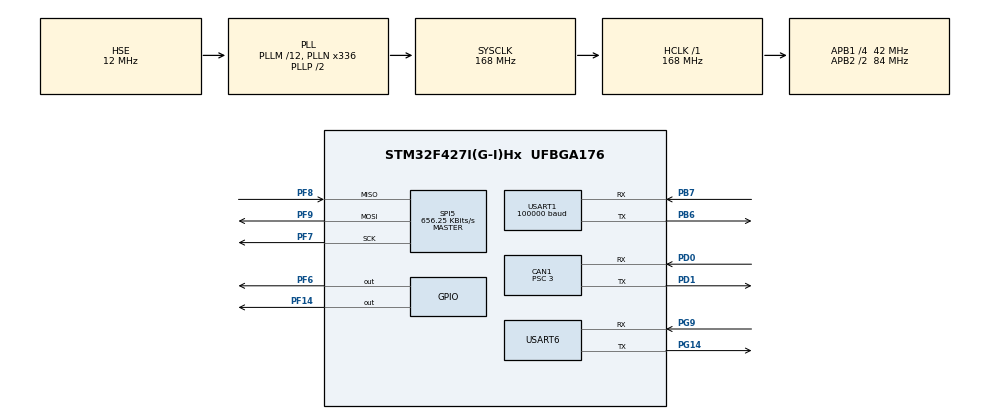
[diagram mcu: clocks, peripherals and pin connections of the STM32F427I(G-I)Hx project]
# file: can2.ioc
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CAN1.BS1=CAN_BS1_6TQ
CAN1.BS2=CAN_BS2_7TQ
CAN1.CalculateTimeQuantum=71.42857142857143
CAN1.NART=ENABLE
CAN1.Prescaler=3
Dma.Request0=USART1_RX
Dma.Request1=USART6_RX
Dma.USART1_RX.0.Direction=DMA_PERIPH_TO_MEMORY
Dma.USART1_RX.0.FIFOMode=DMA_FIFOMODE_DISABLE
Dma.USART1_RX.0.Instance=DMA2_Stream2
Dma.USART1_RX.0.MemDataAlignment=DMA_MDATAALIGN_BYTE
Dma.USART1_RX.0.MemInc=DMA_MINC_ENABLE
Dma.USART1_RX.0.Mode=DMA_CIRCULAR
Dma.USART1_RX.0.PeriphDataAlignment=DMA_PDATAALIGN_BYTE
Dma.USART1_RX.0.PeriphInc=DMA_PINC_DISABLE
Dma.USART1_RX.0.Priority=DMA_PRIORITY_LOW
Dma.USART6_RX.1.Direction=DMA_PERIPH_TO_MEMORY
Dma.USART6_RX.1.FIFOMode=DMA_FIFOMODE_DISABLE
Dma.USART6_RX.1.Instance=DMA2_Stream1
Dma.USART6_RX.1.MemDataAlignment=DMA_MDATAALIGN_BYTE
Dma.USART6_RX.1.MemInc=DMA_MINC_ENABLE
Dma.USART6_RX.1.Mode=DMA_CIRCULAR
Dma.USART6_RX.1.PeriphDataAlignment=DMA_PDATAALIGN_BYTE
Dma.USART6_RX.1.PeriphInc=DMA_PINC_DISABLE
Dma.USART6_RX.1.Priority=DMA_PRIORITY_LOW
Mcu.Family=STM32F4
Mcu.Name=STM32F427I(G-I)Hx
Mcu.Package=UFBGA176
NVIC.CAN1_RX0_IRQn=true\:0\:0\:false\:true\:true\:1\:true
NVIC.CAN1_TX_IRQn=true\:0\:0\:false\:true\:true\:3\:true
NVIC.DMA2_Stream1_IRQn=true\:0\:0\:false\:false\:true\:false
NVIC.DMA2_Stream2_IRQn=true\:0\:0\:false\:false\:true\:false
NVIC.PriorityGroup=NVIC_PRIORITYGROUP_4
NVIC.TIM6_DAC_IRQn=true\:0\:0\:false\:true\:true\:4\:true
NVIC.USART1_IRQn=true\:0\:0\:false\:true\:true\:2\:true
NVIC.USART6_IRQn=true\:0\:0\:false\:false\:true\:true
PA13.Mode=JTAG_5_pins
PA13.Signal=SYS_JTMS-SWDIO
PA14.Mode=JTAG_5_pins
PA14.Signal=SYS_JTCK-SWCLK
PA15.Mode=JTAG_5_pins
PA15.Signal=SYS_JTDI
PB3.Mode=JTAG_5_pins
PB3.Signal=SYS_JTDO-SWO
PB4.Mode=JTAG_5_pins
PB4.Signal=SYS_JTRST
PB6.Mode=Asynchronous
PB6.Signal=USART1_TX
PB7.Mode=Asynchronous
PB7.Signal=USART1_RX
PD0.GPIO_PuPd=GPIO_PULLUP
PD0.Mode=Master
PD0.Signal=CAN1_RX
PD1.GPIO_PuPd=GPIO_PULLUP
PD1.Mode=Master
PD1.Signal=CAN1_TX
PF14.Signal=GPIO_Output
PF6.Signal=GPIO_Output
PF7.Mode=Full_Duplex_Master
PF7.Signal=SPI5_SCK
PF8.Mode=Full_Duplex_Master
PF8.Signal=SPI5_MISO
PF9.Mode=Full_Duplex_Master
PF9.Signal=SPI5_MOSI
PG14.Mode=Asynchronous
PG14.Signal=USART6_TX
PG9.Mode=Asynchronous
PG9.Signal=USART6_RX
PH0/OSC_IN.Mode=HSE-External-Oscillator
PH0/OSC_IN.Signal=RCC_OSC_IN
PH1/OSC_OUT.Mode=HSE-External-Oscillator
PH1/OSC_OUT.Signal=RCC_OSC_OUT
ProjectManager.HeapSize=0x200
ProjectManager.StackSize=0x400
ProjectManager.TargetToolchain=MDK-ARM V5
RCC.48MHZClocksFreq_Value=84000000
RCC.AHBFreq_Value=168000000
RCC.APB1CLKDivider=RCC_HCLK_DIV4
RCC.APB1Freq_Value=42000000
RCC.APB1TimFreq_Value=84000000
RCC.APB2CLKDivider=RCC_HCLK_DIV2
RCC.APB2Freq_Value=84000000
RCC.APB2TimFreq_Value=168000000
RCC.CortexFreq_Value=168000000
RCC.HCLKFreq_Value=168000000
RCC.HSE_VALUE=12000000
RCC.HSI_VALUE=16000000
RCC.LSE_VALUE=32768
RCC.PLLM=12
RCC.PLLN=336
RCC.PLLSourceVirtual=RCC_PLLSOURCE_HSE
RCC.SYSCLKFreq_VALUE=168000000
RCC.SYSCLKSource=RCC_SYSCLKSOURCE_PLLCLK
RCC.VCOOutputFreq_Value=336000000
SPI5.BaudRatePrescaler=SPI_BAUDRATEPRESCALER_128
SPI5.CalculateBaudRate=656.25 KBits/s
SPI5.Direction=SPI_DIRECTION_2LINES
SPI5.Mode=SPI_MODE_MASTER
SPI5.VirtualType=VM_MASTER
TIM2.Period=0xffffffff
TIM2.Prescaler=83
TIM6.Period=999
TIM6.Prescaler=83
USART1.BaudRate=100000
USART1.Parity=PARITY_EVEN
USART1.VirtualMode=VM_ASYNC
USART6.VirtualMode=VM_ASYNC
VP_TIM2_VS_ClockSourceINT.Mode=Internal
VP_TIM6_VS_ClockSourceINT.Mode=Enable_Timer
board=custom

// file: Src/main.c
/**
  ******************************************************************************
  * @file           : main.c
  * @brief          : Main program body
  ******************************************************************************
  ** This notice applies to any and all portions of this file
  * that are not between comment pairs USER CODE BEGIN and
  * USER CODE END. Other portions of this file, whether
  * inserted by the user or by software development tools
  * are owned by their respective copyright owners.
  *
  * COPYRIGHT(c) 2018 STMicroelectronics
  *
  * Redistribution and use in source and binary forms, with or without modification,
  * are permitted provided that the following conditions are met:
  *   1. Redistributions of source code must retain the above copyright notice,
  *      this list of conditions and the following disclaimer.
  *   2. Redistributions in binary form must reproduce the above copyright notice,
  *      this list of conditions and the following disclaimer in the documentation
  *      and/or other materials provided with the distribution.
  *   3. Neither the name of STMicroelectronics nor the names of its contributors
  *      may be used to endorse or promote products derived from this software
  *      without specific prior written permission.
  *
  * THIS SOFTWARE IS PROVIDED BY THE COPYRIGHT HOLDERS AND CONTRIBUTORS "AS IS"
  * AND ANY EXPRESS OR IMPLIED WARRANTIES, INCLUDING, BUT NOT LIMITED TO, THE
  * IMPLIED WARRANTIES OF MERCHANTABILITY AND FITNESS FOR A PARTICULAR PURPOSE ARE
  * DISCLAIMED. IN NO EVENT SHALL THE COPYRIGHT HOLDER OR CONTRIBUTORS BE LIABLE
  * FOR ANY DIRECT, INDIRECT, INCIDENTAL, SPECIAL, EXEMPLARY, OR CONSEQUENTIAL
  * DAMAGES (INCLUDING, BUT NOT LIMITED TO, PROCUREMENT OF SUBSTITUTE GOODS OR
  * SERVICES; LOSS OF USE, DATA, OR PROFITS; OR BUSINESS INTERRUPTION) HOWEVER
  * CAUSED AND ON ANY THEORY OF LIABILITY, WHETHER IN CONTRACT, STRICT LIABILITY,
  * OR TORT (INCLUDING NEGLIGENCE OR OTHERWISE) ARISING IN ANY WAY OUT OF THE USE
  * OF THIS SOFTWARE, EVEN IF ADVISED OF THE POSSIBILITY OF SUCH DAMAGE.
  *
  ******************************************************************************
  */
#include "main.h"
#include "stm32f4xx_hal.h"

/* USER CODE BEGIN Includes */
#include "q6623.h"
#include "can.h"
#include "stdio.h"
#include "bsp_uart.h"
#include "imu.h"
#include "gimbal.h"
#include "gimbal_task.h"
#include "minipc.h"
/* USER CODE END Includes */

CAN_HandleTypeDef hcan1;

SPI_HandleTypeDef hspi5;

TIM_HandleTypeDef htim2;
TIM_HandleTypeDef htim6;

UART_HandleTypeDef huart1;
UART_HandleTypeDef huart6;
DMA_HandleTypeDef hdma_usart1_rx;
DMA_HandleTypeDef hdma_usart6_rx;

/* USER CODE BEGIN PV */
/* Private variables ---------------------------------------------------------*/

/* USER CODE END PV */

void SystemClock_Config(void);
static void MX_GPIO_Init(void);
static void MX_DMA_Init(void);
static void MX_CAN1_Init(void);
static void MX_USART1_UART_Init(void);
static void MX_SPI5_Init(void);
static void MX_USART6_UART_Init(void);
static void MX_TIM2_Init(void);
static void MX_TIM6_Init(void);
static void MX_NVIC_Init(void);

/* USER CODE BEGIN PFP */
/* Private function prototypes -----------------------------------------------*/

/* USER CODE END PFP */

/* USER CODE BEGIN 0 */
uint8_t FilerConf(void);
extern uint16_t gimbal_time;
extern uint16_t minipc_time;
 extern CAN_TxHeaderTypeDef   TxMsg;
 HAL_StatusTypeDef A;
 extern imu_t imu;
 unsigned char got_pitchyaw[8];
 extern Gimbal_Ref_t GimbalRef;
/* USER CODE END 0 */

int main(void)
{
  /* USER CODE BEGIN 1 */
//   uint8_t data[8]={0};
//   uint32_t k;
  GimbalRef.Pitch=0;
	GimbalRef.Yaw=0;
  /* USER CODE END 1 */

  /* MCU Configuration----------------------------------------------------------*/

  /* Reset of all peripherals, Initializes the Flash interface and the Systick. */
  HAL_Init();

  /* Configure the system clock */
  SystemClock_Config();

  /* Initialize all configured peripherals */
  MX_GPIO_Init();
  MX_DMA_Init();
  MX_CAN1_Init();
  MX_USART1_UART_Init();
  MX_SPI5_Init();
  MX_USART6_UART_Init();
  MX_TIM2_Init();
  MX_TIM6_Init();

  /* Initialize interrupts */
  MX_NVIC_Init();
  /* USER CODE BEGIN 2 */
	 dbus_uart_init();
	HAL_TIM_Base_Start_IT(&htim6);
	HAL_CAN_Start(&hcan1 );
	__HAL_UART_ENABLE(&huart6);
	//__HAL_SPI_ENABLE(&hspi5 );
	mpu_device_init();
	init_quaternion();
  __HAL_CAN_ENABLE_IT(&hcan1,((uint32_t) CAN_IER_FMPIE0));
	//HAL_CAN_ActivateNotification(&hcan1,CAN_IT_RX_FIFO0_FULL);
	//HAL_CAN_ActivateNotification(&hcan1 ,CAN_IT_RX_FIFO0_MSG_PENDING);
	//HAL_CAN_ActivateNotification(&hcan1 ,CAN_IT_TX_MAILBOX_EMPTY);
	//__HAL_CAN_ENABLE_IT(&hcan1,CAN_IT_FMP0,);
	HAL_GPIO_WritePin(GPIOF,GPIO_PIN_14,0);
  HAL_Delay(100);
	Motor_Init();
   // __HAL_UART_ENABLE(&huart1);

	// HAL_Delay(1000);

  /* USER CODE END 2 */

  /* Infinite loop */
  while (1)
  {

  /* USER CODE BEGIN 3 */
		 if(gimbal_time==1)
		 {
		 imu_run();
		get_pitchyaw();
		Ref_UpdataFromRCStick();
			 gimbal_time=0;
		 }
		  if(minipc_time )
				Send_MiniPC();
  }
  /* USER CODE END 3 */

}

void SystemClock_Config(void)
{

  RCC_OscInitTypeDef RCC_OscInitStruct;
  RCC_ClkInitTypeDef RCC_ClkInitStruct;

    /**Configure the main internal regulator output voltage
    */
  __HAL_RCC_PWR_CLK_ENABLE();

  __HAL_PWR_VOLTAGESCALING_CONFIG(PWR_REGULATOR_VOLTAGE_SCALE1);

    /**Initializes the CPU, AHB and APB busses clocks
    */
  RCC_OscInitStruct.OscillatorType = RCC_OSCILLATORTYPE_HSE;
  RCC_OscInitStruct.HSEState = RCC_HSE_ON;
  RCC_OscInitStruct.PLL.PLLState = RCC_PLL_ON;
  RCC_OscInitStruct.PLL.PLLSource = RCC_PLLSOURCE_HSE;
  RCC_OscInitStruct.PLL.PLLM = 12;
  RCC_OscInitStruct.PLL.PLLN = 336;
  RCC_OscInitStruct.PLL.PLLP = RCC_PLLP_DIV2;
  RCC_OscInitStruct.PLL.PLLQ = 4;
  if (HAL_RCC_OscConfig(&RCC_OscInitStruct) != HAL_OK)
  {
    _Error_Handler(__FILE__, __LINE__);
  }

    /**Initializes the CPU, AHB and APB busses clocks
    */
  RCC_ClkInitStruct.ClockType = RCC_CLOCKTYPE_HCLK|RCC_CLOCKTYPE_SYSCLK
                              |RCC_CLOCKTYPE_PCLK1|RCC_CLOCKTYPE_PCLK2;
  RCC_ClkInitStruct.SYSCLKSource = RCC_SYSCLKSOURCE_PLLCLK;
  RCC_ClkInitStruct.AHBCLKDivider = RCC_SYSCLK_DIV1;
  RCC_ClkInitStruct.APB1CLKDivider = RCC_HCLK_DIV4;
  RCC_ClkInitStruct.APB2CLKDivider = RCC_HCLK_DIV2;

  if (HAL_RCC_ClockConfig(&RCC_ClkInitStruct, FLASH_LATENCY_5) != HAL_OK)
  {
    _Error_Handler(__FILE__, __LINE__);
  }

    /**Configure the Systick interrupt time
    */
  HAL_SYSTICK_Config(HAL_RCC_GetHCLKFreq()/1000);

    /**Configure the Systick
    */
  HAL_SYSTICK_CLKSourceConfig(SYSTICK_CLKSOURCE_HCLK);

  /* SysTick_IRQn interrupt configuration */
  HAL_NVIC_SetPriority(SysTick_IRQn, 0, 0);
}

/**
  * @brief NVIC Configuration.
  * @retval None
  */
static void MX_NVIC_Init(void)
{
  /* CAN1_RX0_IRQn interrupt configuration */
  HAL_NVIC_SetPriority(CAN1_RX0_IRQn, 0, 0);
  HAL_NVIC_EnableIRQ(CAN1_RX0_IRQn);
  /* USART1_IRQn interrupt configuration */
  HAL_NVIC_SetPriority(USART1_IRQn, 0, 0);
  HAL_NVIC_EnableIRQ(USART1_IRQn);
  /* CAN1_TX_IRQn interrupt configuration */
  HAL_NVIC_SetPriority(CAN1_TX_IRQn, 0, 0);
  HAL_NVIC_EnableIRQ(CAN1_TX_IRQn);
  /* TIM6_DAC_IRQn interrupt configuration */
  HAL_NVIC_SetPriority(TIM6_DAC_IRQn, 0, 0);
  HAL_NVIC_EnableIRQ(TIM6_DAC_IRQn);
}

/* CAN1 init function */
static void MX_CAN1_Init(void)
{

  hcan1.Instance = CAN1;
  hcan1.Init.Prescaler = 3;
  hcan1.Init.Mode = CAN_MODE_NORMAL;
  hcan1.Init.SyncJumpWidth = CAN_SJW_1TQ;
  hcan1.Init.TimeSeg1 = CAN_BS1_6TQ;
  hcan1.Init.TimeSeg2 = CAN_BS2_7TQ;
  hcan1.Init.TimeTriggeredMode = DISABLE;
  hcan1.Init.AutoBusOff = DISABLE;
  hcan1.Init.AutoWakeUp = DISABLE;
  hcan1.Init.AutoRetransmission = ENABLE;
  hcan1.Init.ReceiveFifoLocked = DISABLE;
  hcan1.Init.TransmitFifoPriority = DISABLE;
  if (HAL_CAN_Init(&hcan1) != HAL_OK)
  {
    _Error_Handler(__FILE__, __LINE__);
  }
  FilerConf();
}

/* SPI5 init function */
static void MX_SPI5_Init(void)
{

  /* SPI5 parameter configuration*/
  hspi5.Instance = SPI5;
  hspi5.Init.Mode = SPI_MODE_MASTER;
  hspi5.Init.Direction = SPI_DIRECTION_2LINES;
  hspi5.Init.DataSize = SPI_DATASIZE_8BIT;
  hspi5.Init.CLKPolarity = SPI_POLARITY_LOW;
  hspi5.Init.CLKPhase = SPI_PHASE_1EDGE;
  hspi5.Init.NSS = SPI_NSS_SOFT;
  hspi5.Init.BaudRatePrescaler = SPI_BAUDRATEPRESCALER_128;
  hspi5.Init.FirstBit = SPI_FIRSTBIT_MSB;
  hspi5.Init.TIMode = SPI_TIMODE_DISABLE;
  hspi5.Init.CRCCalculation = SPI_CRCCALCULATION_DISABLE;
  hspi5.Init.CRCPolynomial = 10;
  if (HAL_SPI_Init(&hspi5) != HAL_OK)
  {
    _Error_Handler(__FILE__, __LINE__);
  }

}

/* TIM2 init function */
static void MX_TIM2_Init(void)
{

  TIM_ClockConfigTypeDef sClockSourceConfig;
  TIM_MasterConfigTypeDef sMasterConfig;

  htim2.Instance = TIM2;
  htim2.Init.Prescaler = 83;
  htim2.Init.CounterMode = TIM_COUNTERMODE_UP;
  htim2.Init.Period = 0xffffffff;
  htim2.Init.ClockDivision = TIM_CLOCKDIVISION_DIV1;
  if (HAL_TIM_Base_Init(&htim2) != HAL_OK)
  {
    _Error_Handler(__FILE__, __LINE__);
  }

  sClockSourceConfig.ClockSource = TIM_CLOCKSOURCE_INTERNAL;
  if (HAL_TIM_ConfigClockSource(&htim2, &sClockSourceConfig) != HAL_OK)
  {
    _Error_Handler(__FILE__, __LINE__);
  }

  sMasterConfig.MasterOutputTrigger = TIM_TRGO_RESET;
  sMasterConfig.MasterSlaveMode = TIM_MASTERSLAVEMODE_DISABLE;
  if (HAL_TIMEx_MasterConfigSynchronization(&htim2, &sMasterConfig) != HAL_OK)
  {
    _Error_Handler(__FILE__, __LINE__);
  }

}

/* TIM6 init function */
static void MX_TIM6_Init(void)
{

  TIM_MasterConfigTypeDef sMasterConfig;

  htim6.Instance = TIM6;
  htim6.Init.Prescaler = 83;
  htim6.Init.CounterMode = TIM_COUNTERMODE_UP;
  htim6.Init.Period = 999;
  if (HAL_TIM_Base_Init(&htim6) != HAL_OK)
  {
    _Error_Handler(__FILE__, __LINE__);
  }

  sMasterConfig.MasterOutputTrigger = TIM_TRGO_RESET;
  sMasterConfig.MasterSlaveMode = TIM_MASTERSLAVEMODE_DISABLE;
  if (HAL_TIMEx_MasterConfigSynchronization(&htim6, &sMasterConfig) != HAL_OK)
  {
    _Error_Handler(__FILE__, __LINE__);
  }

}

/* USART1 init function */
static void MX_USART1_UART_Init(void)
{

  huart1.Instance = USART1;
  huart1.Init.BaudRate = 100000;
  huart1.Init.WordLength = UART_WORDLENGTH_8B;
  huart1.Init.StopBits = UART_STOPBITS_1;
  huart1.Init.Parity = UART_PARITY_EVEN;
  huart1.Init.Mode = UART_MODE_TX_RX;
  huart1.Init.HwFlowCtl = UART_HWCONTROL_NONE;
  huart1.Init.OverSampling = UART_OVERSAMPLING_16;
  if (HAL_UART_Init(&huart1) != HAL_OK)
  {
    _Error_Handler(__FILE__, __LINE__);
  }

}

/* USART6 init function */
static void MX_USART6_UART_Init(void)
{

  huart6.Instance = USART6;
  huart6.Init.BaudRate = 115200;
  huart6.Init.WordLength = UART_WORDLENGTH_8B;
  huart6.Init.StopBits = UART_STOPBITS_1;
  huart6.Init.Parity = UART_PARITY_NONE;
  huart6.Init.Mode = UART_MODE_TX_RX;
  huart6.Init.HwFlowCtl = UART_HWCONTROL_NONE;
  huart6.Init.OverSampling = UART_OVERSAMPLING_16;
  if (HAL_UART_Init(&huart6) != HAL_OK)
  {
    _Error_Handler(__FILE__, __LINE__);
  }

}

static void MX_DMA_Init(void)
{
  /* DMA controller clock enable */
  __HAL_RCC_DMA2_CLK_ENABLE();

  /* DMA interrupt init */
  /* DMA2_Stream1_IRQn interrupt configuration */
  HAL_NVIC_SetPriority(DMA2_Stream1_IRQn, 0, 0);
  HAL_NVIC_EnableIRQ(DMA2_Stream1_IRQn);
  /* DMA2_Stream2_IRQn interrupt configuration */
  HAL_NVIC_SetPriority(DMA2_Stream2_IRQn, 0, 0);
  HAL_NVIC_EnableIRQ(DMA2_Stream2_IRQn);

}

/** Configure pins as
        * Analog
        * Input
        * Output
        * EVENT_OUT
        * EXTI
*/
static void MX_GPIO_Init(void)
{

  GPIO_InitTypeDef GPIO_InitStruct;

  /* GPIO Ports Clock Enable */
  __HAL_RCC_GPIOG_CLK_ENABLE();
  __HAL_RCC_GPIOB_CLK_ENABLE();
  __HAL_RCC_GPIOA_CLK_ENABLE();
  __HAL_RCC_GPIOD_CLK_ENABLE();
  __HAL_RCC_GPIOH_CLK_ENABLE();
  __HAL_RCC_GPIOF_CLK_ENABLE();

  /*Configure GPIO pin Output Level */
  HAL_GPIO_WritePin(GPIOF, GPIO_PIN_6|GPIO_PIN_14, GPIO_PIN_RESET);

  /*Configure GPIO pins : PF6 PF14 */
  GPIO_InitStruct.Pin = GPIO_PIN_6|GPIO_PIN_14;
  GPIO_InitStruct.Mode = GPIO_MODE_OUTPUT_PP;
  GPIO_InitStruct.Pull = GPIO_NOPULL;
  GPIO_InitStruct.Speed = GPIO_SPEED_FREQ_LOW;
  HAL_GPIO_Init(GPIOF, &GPIO_InitStruct);

}

/* USER CODE BEGIN 4 */
#ifdef __GNUC__
/* With GCC/RAISONANCE, small printf (option LD Linker->Libraries->Small printf
     set to 'Yes') calls __io_putchar() */
#define PUTCHAR_PROTOTYPE int __io_putchar(int ch)
#else
#define PUTCHAR_PROTOTYPE int fputc(int ch, FILE *f)
#endif /* __GNUC__ */
PUTCHAR_PROTOTYPE
{
  /* Place your implementation of fputc here */
  /* ?????????????? */
  HAL_UART_Transmit(&huart1, (uint8_t *)&ch, 1, 0xFFFF);
  return ch;
}

uint8_t FilerConf(void)
{
	 CAN_FilterTypeDef CAN1_FilerConf;
	 CAN1_FilerConf.FilterIdHigh=0;     //32位ID
    CAN1_FilerConf.FilterIdLow=0;
    CAN1_FilerConf.FilterMaskIdHigh=0X0000; //32位MASK
    CAN1_FilerConf.FilterMaskIdLow=0X0000;
    CAN1_FilerConf.FilterFIFOAssignment=CAN_FILTER_FIFO0;//过滤器0关联到FIFO0
    CAN1_FilerConf.FilterBank=0;          //过滤器0
    CAN1_FilerConf.FilterMode=CAN_FILTERMODE_IDMASK;
    CAN1_FilerConf.FilterScale=CAN_FILTERSCALE_32BIT;
    CAN1_FilerConf.FilterActivation=ENABLE; //激活滤波器0
    CAN1_FilerConf.SlaveStartFilterBank=0;

	  if(HAL_CAN_ConfigFilter(&hcan1, &CAN1_FilerConf)!=HAL_OK )
			return 1;
		HAL_GPIO_WritePin(GPIOF,GPIO_PIN_14,1);
		return 0;
}
void HAL_CAN_ErrorCallback(CAN_HandleTypeDef *hcan)
{
 __HAL_CAN_ENABLE_IT(hcan, CAN_IT_RX_FIFO0_MSG_PENDING);
}
 void HAL_CAN_TxMailbox0CompleteCallback(CAN_HandleTypeDef *hcan)
 {
 }

/* USER CODE END 4 */

void _Error_Handler(char *file, int line)
{
  while(1)
  {
  }
}

/************************ (C) COPYRIGHT STMicroelectronics *****END OF FILE****/
